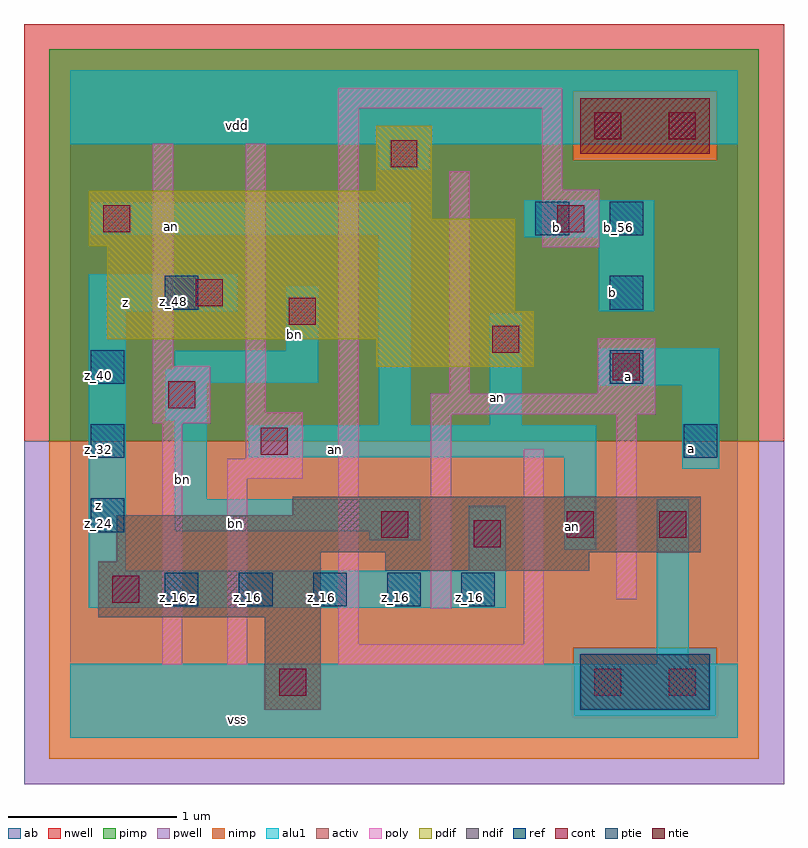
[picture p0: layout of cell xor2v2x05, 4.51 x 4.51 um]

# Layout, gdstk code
import gdstk
lib = gdstk.Library(unit=1e-6, precision=2.5e-09)
def R(c, l, rs):  # rectangles x0, y0, x1, y1
    for r in rs: c.add(gdstk.rectangle(r[:2], r[2:], *l))
def A(c, l, x, y, w, h, nx, ny, dx, dy):  # array of equal rectangles
    R(c, l, [(x+i*dx, y+j*dy, x+i*dx+w, y+j*dy+h) for i in range(nx) for j in range(ny)])
ndif = (3, 0)
pdif = (4, 0)
ntie = (5, 0)
ptie = (6, 0)
ref = (24, 0)
cont = (25, 0)
pwell = (41, 0)
nwell = (42, 0)
activ = (43, 0)
pimp = (44, 0)
nimp = (45, 0)
poly = (46, 0)
alu1 = (49, 0)
ab = (63, 0)

xor2v2x05 = lib.new_cell('xor2v2x05')
R(xor2v2x05, ndif, [(1.155,0.165,1.485,0.715), (0.165,0.715,1.485,1.045), (1.87,0.99,3.08,1.1), (0.275,1.045,1.485,1.1), (0.275,1.1,3.74,1.32), (1.32,1.32,3.74,1.43)])
R(xor2v2x05, pdif, [(1.815,2.2,2.75,2.365), (0.22,2.365,2.75,2.53), (0.22,2.53,2.64,2.915), (0.11,2.915,2.64,3.08), (0.11,3.08,2.145,3.245), (1.815,3.245,2.145,3.63)])
R(xor2v2x05, ntie, [(3.025,3.465,3.795,3.795)])
R(xor2v2x05, ptie, [(3.025,0.165,3.795,0.495)])
A(xor2v2x05, ref, 0.56, 0.78, 0.2, 0.2, 5, 1, 0.44, 0)
A(xor2v2x05, ref, 0.12, 1.22, 0.2, 0.2, 1, 3, 0, 0.44)
A(xor2v2x05, ref, 3.2, 2.1, 0.2, 0.2, 1, 3, 0, 0.44)
R(xor2v2x05, ref, [(3.64,1.66,3.84,1.86), (0.56,2.54,0.76,2.74), (2.76,2.98,2.96,3.18)])
R(xor2v2x05, cont, [(1.24,0.25,1.4,0.41), (3.11,0.25,3.27,0.41), (3.55,0.25,3.71,0.41), (0.25,0.8,0.41,0.96), (2.395,1.13,2.555,1.29), (1.845,1.185,2.005,1.345), (2.945,1.185,3.105,1.345), (3.495,1.185,3.655,1.345), (1.13,1.68,1.29,1.84), (0.58,1.955,0.74,2.115), (3.22,2.12,3.38,2.28), (2.505,2.285,2.665,2.445), (1.295,2.45,1.455,2.61), (0.745,2.56,0.905,2.72), (0.195,3,0.355,3.16), (2.89,3,3.05,3.16), (1.9,3.385,2.06,3.545), (3.11,3.55,3.27,3.71), (3.55,3.55,3.71,3.71)])
R(xor2v2x05, pwell, [(-0.275,-0.275,4.235,1.76)])
R(xor2v2x05, nwell, [(-0.275,1.76,4.235,4.235)])
R(xor2v2x05, activ, [(1.155,0.165,1.485,0.715), (3.025,0.165,3.795,0.495), (0.165,0.715,1.485,1.045), (1.87,0.99,3.08,1.1), (0.275,1.045,1.485,1.1), (0.275,1.1,3.74,1.32), (1.32,1.32,3.74,1.43), (1.815,2.2,2.75,2.365), (0.22,2.365,2.75,2.53), (0.22,2.53,2.64,2.915), (0.11,2.915,2.64,3.08), (0.11,3.08,2.145,3.245), (1.815,3.245,2.145,3.63), (3.025,3.465,3.795,3.795)])
R(xor2v2x05, pimp, [(2.985,0.125,3.835,0.535), (-0.125,1.76,4.085,3.425), (-0.125,3.425,2.985,3.835), (3.835,3.425,4.085,3.835), (-0.125,3.835,4.085,4.085)])
R(xor2v2x05, nimp, [(-0.125,-0.125,4.085,0.125), (-0.125,0.125,2.985,0.535), (3.835,0.125,4.085,0.535), (-0.125,0.535,4.085,1.76), (2.985,3.425,3.835,3.835)])
R(xor2v2x05, poly, [(0.545,0.435,0.665,1.865), (0.93,0.435,1.05,1.535), (1.59,0.435,2.81,0.555), (1.59,0.555,1.71,3.735), (2.69,0.555,2.81,1.71), (2.14,0.765,2.26,1.92), (3.24,0.82,3.36,1.92), (0.93,1.535,1.38,1.655), (1.04,1.655,1.38,1.93), (0.49,1.865,0.83,2.205), (2.14,1.92,3.47,2.04), (1.04,1.93,1.16,3.525), (2.25,2.04,2.37,3.36), (3.13,2.04,3.47,2.37), (0.49,2.205,0.61,3.525), (2.8,2.91,3.14,3.25), (2.8,3.25,2.92,3.735), (1.59,3.735,2.92,3.855)])
R(xor2v2x05, alu1, [(0,0,3.96,0.44), (3.48,0.44,3.67,1.415), (0.11,0.77,2.585,0.99), (0.11,0.99,0.33,2.53), (2.365,0.99,2.585,1.375), (2.93,1.115,3.12,1.665), (1.775,1.17,2.075,1.225), (0.62,1.225,2.075,1.415), (0.62,1.415,0.81,1.885), (3.63,1.595,3.85,2.09), (1.06,1.665,3.12,1.855), (1.83,1.855,2.02,2.985), (2.49,1.855,2.68,2.515), (0.565,1.885,0.81,2.105), (3.135,2.09,3.85,2.31), (0.565,2.105,1.47,2.185), (0.62,2.185,1.47,2.295), (1.28,2.295,1.47,2.68), (0.11,2.53,0.99,2.75), (3.135,2.53,3.465,2.97), (2.695,2.97,3.465,3.19), (0.125,2.985,2.02,3.175), (1.83,3.37,2.13,3.52), (0,3.52,3.96,3.96)])
R(xor2v2x05, ab, [(0,0,3.96,3.96)])
xor2v2x05.add(gdstk.Label('vss', (0.99,0.11), layer=49, texttype=0))
xor2v2x05.add(gdstk.Label('z', (0.7275,0.825), layer=49, texttype=0))
xor2v2x05.add(gdstk.Label('a', (3.685,1.7175), layer=49, texttype=0))
xor2v2x05.add(gdstk.Label('an', (2.9775,1.2525), layer=49, texttype=0))
xor2v2x05.add(gdstk.Label('bn', (0.9825,1.2725), layer=49, texttype=0))
xor2v2x05.add(gdstk.Label('an', (1.575,1.7125), layer=49, texttype=0))
xor2v2x05.add(gdstk.Label('a', (3.3125,2.145), layer=49, texttype=0))
xor2v2x05.add(gdstk.Label('an', (2.5375,2.02), layer=49, texttype=0))
xor2v2x05.add(gdstk.Label('b', (3.2175,2.64), layer=49, texttype=0))
xor2v2x05.add(gdstk.Label('b', (2.8875,3.025), layer=49, texttype=0))
xor2v2x05.add(gdstk.Label('bn', (0.6675,1.5325), layer=49, texttype=0))
xor2v2x05.add(gdstk.Label('bn', (1.3275,2.39), layer=49, texttype=0))
xor2v2x05.add(gdstk.Label('z', (0.165,1.375), layer=49, texttype=0))
xor2v2x05.add(gdstk.Label('z', (0.33,2.585), layer=49, texttype=0))
xor2v2x05.add(gdstk.Label('an', (0.5975,3.0325), layer=49, texttype=0))
xor2v2x05.add(gdstk.Label('vdd', (0.99,3.63), layer=49, texttype=0))
xor2v2x05.add(gdstk.Label('a_32', (3.69,1.71), layer=24, texttype=0))
xor2v2x05.add(gdstk.Label('b_56', (3.25,3.03), layer=24, texttype=0))
xor2v2x05.add(gdstk.Label('b_48', (3.25,2.59), layer=24, texttype=0))
xor2v2x05.add(gdstk.Label('a_40', (3.25,2.15), layer=24, texttype=0))
xor2v2x05.add(gdstk.Label('z_16', (2.37,0.83), layer=24, texttype=0))
xor2v2x05.add(gdstk.Label('z_40', (0.17,2.15), layer=24, texttype=0))
xor2v2x05.add(gdstk.Label('z_32', (0.17,1.71), layer=24, texttype=0))
xor2v2x05.add(gdstk.Label('z_24', (0.17,1.27), layer=24, texttype=0))
xor2v2x05.add(gdstk.Label('z_16', (1.93,0.83), layer=24, texttype=0))
xor2v2x05.add(gdstk.Label('z_16', (1.49,0.83), layer=24, texttype=0))
xor2v2x05.add(gdstk.Label('z_16', (1.05,0.83), layer=24, texttype=0))
xor2v2x05.add(gdstk.Label('z_48', (0.61,2.59), layer=24, texttype=0))
xor2v2x05.add(gdstk.Label('z_16', (0.61,0.83), layer=24, texttype=0))
xor2v2x05.add(gdstk.Label('b_56', (2.81,3.03), layer=24, texttype=0))

lib.write_gds('xor2v2x05.gds')
